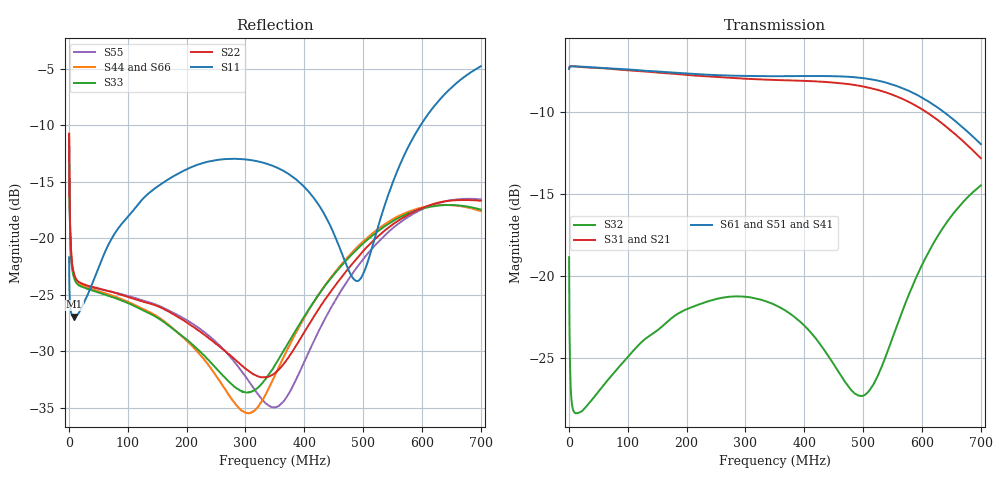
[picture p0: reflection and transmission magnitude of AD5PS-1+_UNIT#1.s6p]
!Mini-Circuits Laboratory
!S-Parameters
!Model:AD5PS-1+
!Run/Lot/Date Code:MU38160//0951
!DATA FOR:UNIT#1
!Fixture/SN/Due:90-1-20-122/63678/01-15-11
!Connection:PORT-1-pin<1>;PORT-2-pin<8>;PORT-3-pin<7>;PORT-4-pin<6>;PORT-5-pin<5>;PORT-6-pin<4>
!Created: 04-21-2010 at 11:56 AM
!MODEL: AD5PS-1+
!S/N: Unit 1
#MHz S dB R 50
!Frequency  S11 dB  S11 DEG  S12 dB  S12 DEG  S13 dB  S13 DEG  S14 dB  S14 DEG  S15 dB  S15 DEG  S16 dB  S16 DEG
!  S21 dB  S21 DEG  S22 dB  S22 DEG  S23 dB  S23 DEG  S24 dB  S24 DEG  S25 dB  S25 DEG  S26 dB  S26 DEG
!  S31 dB  S31 DEG  S32 dB  S32 DEG  S33 dB  S33 DEG  S34 dB  S34 DEG  S35 dB  S35 DEG  S36 dB  S36 DEG
!  S41 dB  S41 DEG  S42 dB  S42 DEG  S43 dB  S43 DEG  S44 dB  S44 DEG  S45 dB  S45 DEG  S46 dB  S46 DEG
!  S51 dB  S51 DEG  S52 dB  S52 DEG  S53 dB  S53 DEG  S54 dB  S54 DEG  S55 dB  S55 DEG  S56 dB  S56 DEG
!  S61 dB  S61 DEG  S62 dB  S62 DEG  S63 dB  S63 DEG  S64 dB  S64 DEG  S65 dB  S65 DEG  S66 dB  S66 DEG
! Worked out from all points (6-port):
!   707 points, 300 kHz to 700 MHz, reference 50 ohm
!   strongest paths, dB at 300 kHz, 170 MHz, 347 MHz, 524 MHz, 700 MHz:
!     S61: -7.4, -7.6, -7.8, -8.1, -12.0
!     S51: -7.4, -7.6, -7.8, -8.1, -12.0
!     S41: -7.4, -7.6, -7.9, -8.3, -12.2
!     S31: -7.4, -7.7, -8.1, -8.7, -12.8
!     S21: -7.4, -7.7, -8.2, -8.9, -13.1
!     S32: -18.9, -22.7, -21.7, -26.2, -14.5
!   lowest |S11| = -26.9 dB at 9 MHz (marker M1), VSWR 1.09, Z = 46.2 + j2.05 ohm
!   |S11| at or under -10 dB: start of sweep to 597.4 MHz
